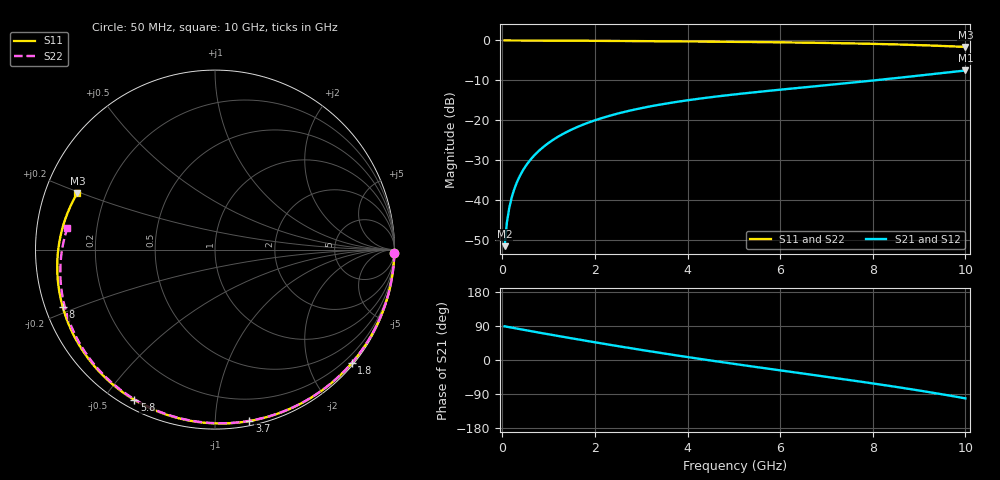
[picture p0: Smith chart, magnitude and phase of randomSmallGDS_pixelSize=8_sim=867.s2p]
! freq	dB(S11)	phase(S11)	dB(S12)	phase(S12)
!  dB(S21)	phase(S21)	dB(S22)	phase(S22)
!S-par simulation data
#  GHz  S  DB  R 50
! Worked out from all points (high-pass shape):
!   200 points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, 50 MHz to 10 GHz, reference 50 ohm
!   highest |S21| = -7.52 dB at 10 GHz (marker M1); lowest = -51.5 dB at 50 MHz (marker M2)
!   |S21| within 3 dB of the highest: 7.587 GHz to end of sweep
!   lowest |S11| = -1.6 dB at 10 GHz (marker M3), VSWR 10.68, Z = 4.86 + j9.8 ohm
!   |S11| at or under -10 dB: nowhere
!   |S22| runs from -1.6 to 0.0 dB; largest |S21 - S12| = 0
!   S11 on the Smith chart (normalised r, x): 50 MHz: open; 1.8 GHz: 0.04, -2.77; 3.7 GHz: 0.03, -1.22; 5.8 GHz: 0.03, -0.60; 8 GHz: 0.05, -0.18; 10 GHz: 0.10, +0.20
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0.05  -0.01 -1.1  -51.46 88.9  -51.46 88.9  -0.01 -1.1
0.1  -0.01 -2.3  -45.44 87.7  -45.44 87.7  -0.01 -2.2
0.15  -0.01 -3.4  -41.93 86.6  -41.93 86.6  -0.01 -3.2
0.2  -0.01 -4.5  -39.43 85.5  -39.43 85.5  -0.01 -4.3
0.35  -0.01 -7.9  -34.59 82.1  -34.59 82.1  -0.01 -7.5
0.5  -0.02 -11.2  -31.52 78.7  -31.52 78.7  -0.02 -10.8
0.7  -0.02 -15.7  -28.64 74.3  -28.64 74.3  -0.02 -15.1
1  -0.04 -22.3  -25.63 67.8  -25.63 67.8  -0.04 -21.4
1.75  -0.08 -38.6  -21.03 51.9  -21.03 51.9  -0.08 -37.1
1.8  -0.09 -39.7  -20.81 50.9  -20.81 50.9  -0.08 -38.2
2.6  -0.14 -56.5  -17.98 34.6  -17.98 34.6  -0.14 -54.3
3.4  -0.20 -72.7  -16.06 18.9  -16.06 18.9  -0.20 -69.9
3.7  -0.23 -78.6  -15.49 13.3  -15.49 13.3  -0.22 -75.6
4.35  -0.29 -91.2  -14.42 1.4  -14.42 1.4  -0.28 -87.6
5.05  -0.36 -104.4  -13.46 -11.0  -13.46 -11.0  -0.35 -100.2
5.8  -0.44 -118.2  -12.55 -24.0  -12.55 -24.0  -0.44 -113.3
6.7  -0.58 -134.7  -11.53 -39.2  -11.53 -39.2  -0.57 -128.8
7.35  -0.70 -146.8  -10.79 -50.4  -10.79 -50.4  -0.68 -139.9
8  -0.85 -159.3  -10.03 -61.8  -10.03 -61.8  -0.83 -151.2
8.35  -0.95 -166.2  -9.61 -68.1  -9.61 -68.1  -0.93 -157.4
9.2  -1.25 176.1  -8.54 -84.4  -8.54 -84.4  -1.22 -172.9
10  -1.63 157.6  -7.52 -101.3  -7.52 -101.3  -1.60 171.7
